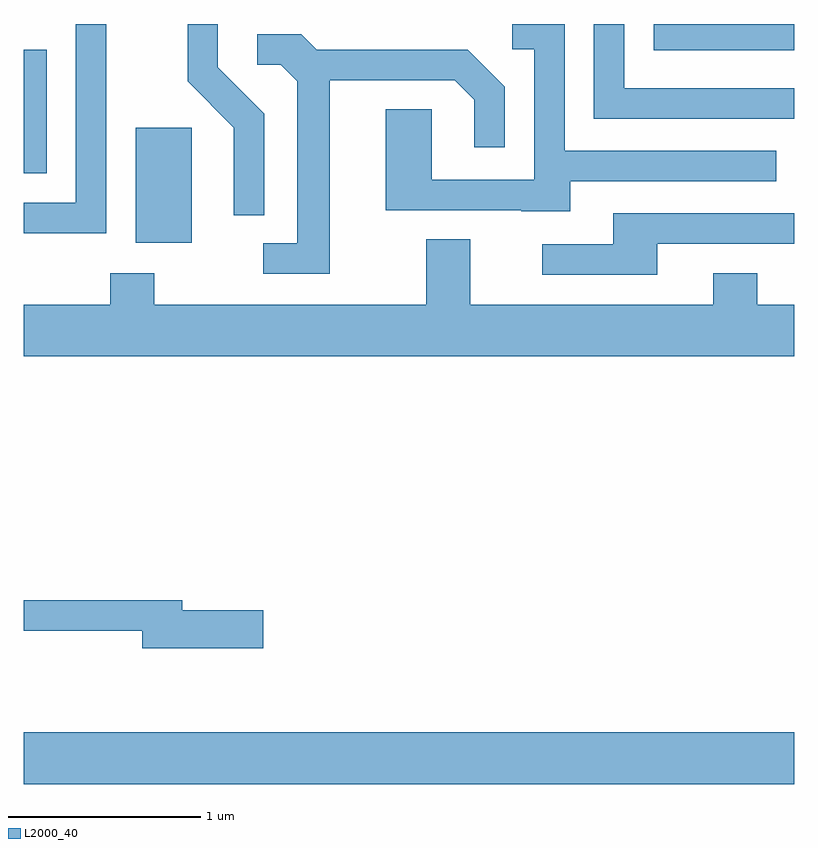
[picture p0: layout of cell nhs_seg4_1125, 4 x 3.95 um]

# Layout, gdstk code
import gdstk
lib = gdstk.Library(unit=1e-6, precision=1e-09)
def R(c, l, rs):  # rectangles x0, y0, x1, y1
    for r in rs: c.add(gdstk.rectangle(r[:2], r[2:], *l))
def P(c, l, *ps):  # polygons
    for p in ps: c.add(gdstk.Polygon(p, *l))
L2000_40 = (2000, 40)

nhs_seg4_1125 = lib.new_cell('nhs_seg4_1125')
R(nhs_seg4_1125, L2000_40, [(217.611,1328.036,221.611,1328.304), (218.191,1330.846,218.484,1331.444), (217.611,1331.206,217.729,1331.849), (220.881,1331.846,221.611,1331.982)])
P(nhs_seg4_1125, L2000_40, [(218.039,1331.982),(217.881,1331.982),(217.881,1331.054),(217.611,1331.054),(217.611,1330.896),(218.039,1330.896)],
  [(218.859,1331.517),(218.619,1331.757),(218.619,1331.982),(218.461,1331.982),(218.461,1331.684),(218.701,1331.444),(218.701,1330.988),(218.859,1330.988)],
  [(221.611,1331.649),(220.729,1331.649),(220.729,1331.982),(220.571,1331.982),(220.571,1331.491),(221.611,1331.491)],
  [(220.449,1331.166),(221.518,1331.166),(221.518,1331.324),(220.419,1331.324),(220.419,1331.982),(220.148,1331.982),(220.148,1331.851),(220.261,1331.851),(220.261,1331.174),(219.729,1331.174),(219.729,1331.539),(219.491,1331.539),(219.491,1331.016),(220.195,1331.016),(220.195,1331.011),(220.449,1331.011)],
  [(219.199,1331.691),(219.849,1331.691),(219.951,1331.589),(219.951,1331.343),(220.109,1331.343),(220.109,1331.657),(219.917,1331.849),(219.132,1331.849),(219.052,1331.929),(218.823,1331.929),(218.823,1331.771),(218.944,1331.771),(219.031,1331.684),(219.031,1330.844),(218.853,1330.844),(218.853,1330.686),(219.199,1330.686)],
  [(220.899,1330.841),(221.611,1330.841),(221.611,1330.999),(220.671,1330.999),(220.671,1330.839),(220.303,1330.839),(220.303,1330.681),(220.899,1330.681)],
  [(221.611,1330.524),(221.419,1330.524),(221.419,1330.689),(221.191,1330.689),(221.191,1330.524),(219.929,1330.524),(219.929,1330.864),(219.701,1330.864),(219.701,1330.524),(218.289,1330.524),(218.289,1330.689),(218.061,1330.689),(218.061,1330.524),(217.611,1330.524),(217.611,1330.256),(221.611,1330.256)],
  [(218.854,1328.939),(218.434,1328.939),(218.434,1328.989),(217.611,1328.989),(217.611,1328.831),(218.226,1328.831),(218.226,1328.741),(218.854,1328.741)])

lib.write_gds('nhs_seg4_1125.gds')
